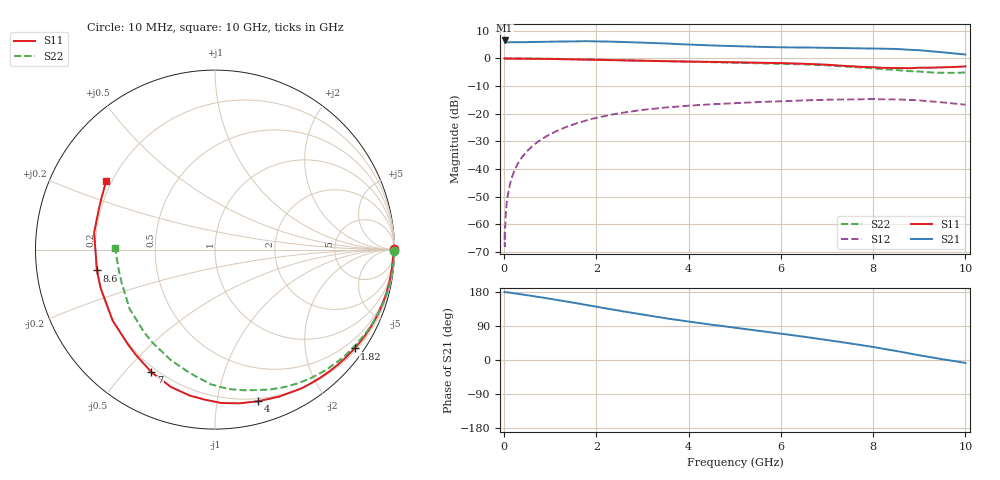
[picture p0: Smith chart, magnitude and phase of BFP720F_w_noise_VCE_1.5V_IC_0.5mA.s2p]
! Infineon Technologies  Discrete & RF Semiconductors
! BFP720F
! VCE =  1.5 V,  IC =  0.5 mA
! Common Emitter S-Parameters:  Jan 2016
# GHz  S  MA  R  50
!  f  S11  S21  S12  S22
! GHz  MAG  ANG  MAG  ANG  MAG  ANG  MAG  ANG
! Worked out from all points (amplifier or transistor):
!   233 points, 10 MHz to 10 GHz, reference 50 ohm
!   highest |S21| = 6.5 dB at 10 MHz (marker M1)
!   |S21| within 3 dB of that: start of sweep to 8.28 GHz
!   unconditionally stable (mu >= 1): nowhere
!   at 200 MHz: K = 0.00, MSG = 23.7 dB, |S12| = -41.6 dB
!   at 1.74 GHz: K = 0.12, MSG = 14.4 dB, |S12| = -22.6 dB
!   at 10 GHz: K = 0.79, MSG = 9.1 dB, |S12| = -16.8 dB
!   lowest NFmin = 0.54 dB at 450 MHz
!   S11 on the Smith chart (normalised r, x): 10 MHz: open; 1.82 GHz: 0.26, -3.12; 4 GHz: 0.18, -1.31; 7 GHz: 0.18, -0.59; 8.6 GHz: 0.20, -0.08; 10 GHz: 0.18, +0.28
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0.01  0.9957 0.2  2.116 179.8  0.0007 -23.1  1 -0.5
0.015  0.9953 -0.0  2.052 179.1  0.0004 40.4  1 -0.7
0.02  0.995 -0.3  1.988 178.3  0.0008 92.0  1 -1.0
0.03  0.9947 -0.5  1.979 178.5  0.0013 91.7  0.9995 -1.0
0.045  0.9942 -0.9  1.965 178.9  0.002 91.5  0.9987 -0.9
0.115  0.9936 -2.1  1.963 177.9  0.0048 89.1  0.9992 -1.7
0.24  0.9918 -4.4  1.97 175.6  0.0101 86.6  0.9986 -3.6
0.38  0.9907 -7.0  1.976 173.1  0.016 84.4  0.9963 -5.8
0.86  0.9829 -16.1  2 164.2  0.0366 76.6  0.9898 -13.3
1.68  0.9582 -32.5  2.053 147.5  0.0714 62.0  0.9647 -26.7
1.82  0.9529 -35.3  2.049 144.5  0.0772 59.3  0.9598 -29.0
2.6  0.9236 -50.7  1.985 127.9  0.1053 44.6  0.9282 -41.7
3.4  0.8957 -64.7  1.877 112.2  0.1268 30.7  0.8952 -52.5
4  0.8785 -74.0  1.786 101.4  0.1395 21.5  0.8734 -59.0
5.1  0.8513 -88.8  1.662 83.6  0.1567 5.9  0.8336 -69.3
6.8  0.7807 -113.5  1.567 56.2  0.1768 -17.3  0.7611 -88.8
7  0.7697 -117.4  1.564 52.7  0.1791 -20.2  0.7504 -91.8
8  0.694 -145.2  1.521 34.4  0.1837 -36.1  0.6632 -111.7
8.4  0.6722 -161.4  1.492 25.9  0.1823 -43.7  0.6252 -123.7
8.6  0.668 -170.0  1.469 21.6  0.1803 -47.5  0.6072 -130.4
9  0.6801 172.0  1.409 12.4  0.1741 -55.7  0.5791 -145.3
10  0.717 147.7  1.179 -7.7  0.1452 -72.8  0.5569 179.0
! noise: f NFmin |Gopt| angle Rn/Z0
0.45  0.54  0.9  6  0.96
0.9  0.77  0.88  13  1.01
2.4  1.03  0.86  32  0.7
5.5  1.54  0.73  97  0.46
